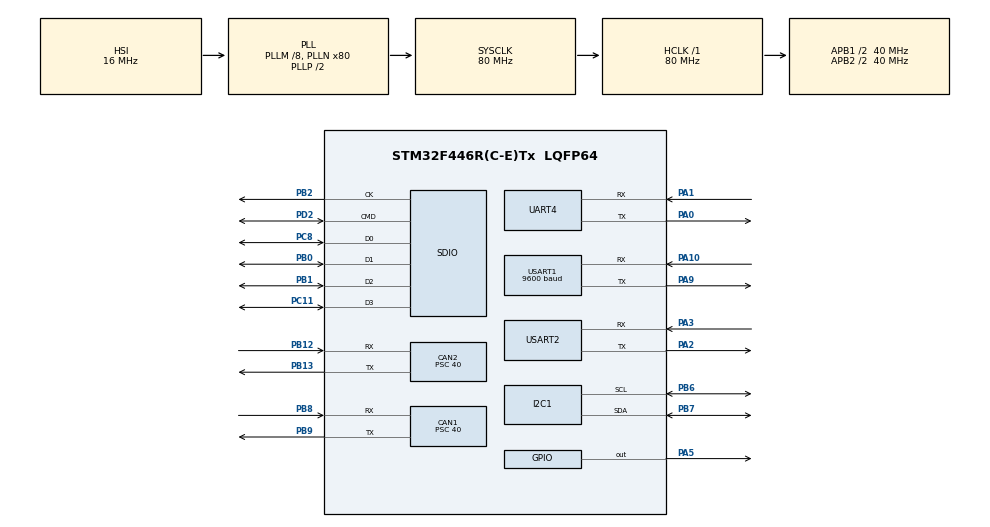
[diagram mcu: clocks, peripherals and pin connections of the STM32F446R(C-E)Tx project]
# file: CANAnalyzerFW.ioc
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CAN1.BS1=CAN_BS1_7TQ
CAN1.BS2=CAN_BS2_2TQ
CAN1.CalculateTimeQuantum=1000.0
CAN1.Mode=CAN_MODE_SILENT
CAN1.Prescaler=40
CAN2.BS1=CAN_BS1_7TQ
CAN2.BS2=CAN_BS2_2TQ
CAN2.CalculateTimeQuantum=1000.0
CAN2.Mode=CAN_MODE_SILENT
CAN2.Prescaler=40
Dma.Request0=SDIO_RX
Dma.Request1=SDIO_TX
Dma.SDIO_RX.0.Direction=DMA_PERIPH_TO_MEMORY
Dma.SDIO_RX.0.FIFOMode=DMA_FIFOMODE_ENABLE
Dma.SDIO_RX.0.FIFOThreshold=DMA_FIFO_THRESHOLD_FULL
Dma.SDIO_RX.0.Instance=DMA2_Stream3
Dma.SDIO_RX.0.MemBurst=DMA_MBURST_INC4
Dma.SDIO_RX.0.MemDataAlignment=DMA_MDATAALIGN_WORD
Dma.SDIO_RX.0.MemInc=DMA_MINC_ENABLE
Dma.SDIO_RX.0.Mode=DMA_PFCTRL
Dma.SDIO_RX.0.PeriphBurst=DMA_PBURST_INC4
Dma.SDIO_RX.0.PeriphDataAlignment=DMA_PDATAALIGN_WORD
Dma.SDIO_RX.0.PeriphInc=DMA_PINC_DISABLE
Dma.SDIO_RX.0.Priority=DMA_PRIORITY_LOW
Dma.SDIO_TX.1.Direction=DMA_MEMORY_TO_PERIPH
Dma.SDIO_TX.1.FIFOMode=DMA_FIFOMODE_ENABLE
Dma.SDIO_TX.1.FIFOThreshold=DMA_FIFO_THRESHOLD_FULL
Dma.SDIO_TX.1.Instance=DMA2_Stream6
Dma.SDIO_TX.1.MemBurst=DMA_MBURST_INC4
Dma.SDIO_TX.1.MemDataAlignment=DMA_MDATAALIGN_WORD
Dma.SDIO_TX.1.MemInc=DMA_MINC_ENABLE
Dma.SDIO_TX.1.Mode=DMA_PFCTRL
Dma.SDIO_TX.1.PeriphBurst=DMA_PBURST_INC4
Dma.SDIO_TX.1.PeriphDataAlignment=DMA_PDATAALIGN_WORD
Dma.SDIO_TX.1.PeriphInc=DMA_PINC_DISABLE
Dma.SDIO_TX.1.Priority=DMA_PRIORITY_LOW
FATFS._MAX_SS=4096
FATFS._USE_FIND=1
FATFS._USE_LFN=3
FREERTOS.INCLUDE_eTaskGetState=1
FREERTOS.MEMORY_ALLOCATION=0
FREERTOS.Tasks01=defaultTask,1,1024,StartDefaultTask,Default,NULL,Dynamic,NULL,NULL
FREERTOS.configCHECK_FOR_STACK_OVERFLOW=2
FREERTOS.configRECORD_STACK_HIGH_ADDRESS=1
FREERTOS.configTOTAL_HEAP_SIZE=60000
FREERTOS.configUSE_PREEMPTION=1
Mcu.Family=STM32F4
Mcu.Name=STM32F446R(C-E)Tx
Mcu.Package=LQFP64
NVIC.CAN1_RX0_IRQn=true\:5\:0\:false\:false\:true\:true\:true\:true
NVIC.CAN1_RX1_IRQn=true\:5\:0\:false\:false\:true\:true\:true\:true
NVIC.CAN1_SCE_IRQn=true\:5\:0\:false\:false\:true\:true\:true\:true
NVIC.CAN1_TX_IRQn=true\:5\:0\:false\:false\:true\:true\:true\:true
NVIC.CAN2_RX0_IRQn=true\:5\:0\:false\:false\:true\:true\:true\:true
NVIC.CAN2_RX1_IRQn=true\:5\:0\:false\:false\:true\:true\:true\:true
NVIC.CAN2_SCE_IRQn=true\:5\:0\:false\:false\:true\:true\:true\:true
NVIC.CAN2_TX_IRQn=true\:5\:0\:false\:false\:true\:true\:true\:true
NVIC.DMA2_Stream3_IRQn=true\:5\:0\:false\:false\:true\:true\:false\:true
NVIC.DMA2_Stream6_IRQn=true\:5\:0\:false\:false\:true\:true\:false\:true
NVIC.PriorityGroup=NVIC_PRIORITYGROUP_4
NVIC.SDIO_IRQn=true\:5\:0\:false\:false\:true\:true\:true\:true
NVIC.TIM1_UP_TIM10_IRQn=true\:0\:0\:false\:false\:true\:false\:false\:true
NVIC.TimeBase=TIM1_UP_TIM10_IRQn
NVIC.TimeBaseIP=TIM1
NVIC.USART1_IRQn=true\:5\:0\:false\:false\:true\:true\:true\:true
PA0-WKUP.Mode=Asynchronous
PA0-WKUP.Signal=UART4_TX
PA1.Mode=Asynchronous
PA1.Signal=UART4_RX
PA10.Mode=Asynchronous
PA10.Signal=USART1_RX
PA13.Signal=SYS_JTMS-SWDIO
PA14.Signal=SYS_JTCK-SWCLK
PA2.Mode=Asynchronous
PA2.Signal=USART2_TX
PA3.Mode=Asynchronous
PA3.Signal=USART2_RX
PA5.Signal=GPIO_Output
PA9.Mode=Asynchronous
PA9.Signal=USART1_TX
PB0.GPIO_PuPd=GPIO_PULLUP
PB0.Mode=SD_4_bits_Wide_bus
PB0.Signal=SDIO_D1
PB1.GPIO_PuPd=GPIO_PULLUP
PB1.Mode=SD_4_bits_Wide_bus
PB1.Signal=SDIO_D2
PB12.Mode=Slave
PB12.Signal=CAN2_RX
PB13.Mode=Slave
PB13.Signal=CAN2_TX
PB2.Mode=SD_4_bits_Wide_bus
PB2.Signal=SDIO_CK
PB6.Mode=I2C
PB6.Signal=I2C1_SCL
PB7.Mode=I2C
PB7.Signal=I2C1_SDA
PB8.Mode=Master
PB8.Signal=CAN1_RX
PB9.Mode=Master
PB9.Signal=CAN1_TX
PC11.GPIO_PuPd=GPIO_PULLUP
PC11.Mode=SD_4_bits_Wide_bus
PC11.Signal=SDIO_D3
PC8.GPIO_PuPd=GPIO_PULLUP
PC8.Mode=SD_4_bits_Wide_bus
PC8.Signal=SDIO_D0
PD2.GPIO_PuPd=GPIO_PULLUP
PD2.Mode=SD_4_bits_Wide_bus
PD2.Signal=SDIO_CMD
ProjectManager.HeapSize=0x2000
ProjectManager.StackSize=0x4000
ProjectManager.TargetToolchain=MDK-ARM V5
RCC.AHBFreq_Value=80000000
RCC.APB1CLKDivider=RCC_HCLK_DIV2
RCC.APB1Freq_Value=40000000
RCC.APB1TimFreq_Value=80000000
RCC.APB2CLKDivider=RCC_HCLK_DIV2
RCC.APB2Freq_Value=40000000
RCC.APB2TimFreq_Value=80000000
RCC.CortexFreq_Value=80000000
RCC.HCLKFreq_Value=80000000
RCC.HSE_VALUE=8000000
RCC.PLLM=8
RCC.PLLN=80
RCC.PLLQ=15
RCC.SYSCLKFreq_VALUE=80000000
RCC.SYSCLKSource=RCC_SYSCLKSOURCE_PLLCLK
RCC.USBFreq_Value=10666666.666666666
RCC.VCOOutputFreq_Value=160000000
SDIO.ClockDiv=4
UART4.VirtualMode=Asynchronous
USART1.BaudRate=9600
USART1.VirtualMode=VM_ASYNC
USART2.VirtualMode=VM_ASYNC
VP_CRC_VS_CRC.Mode=CRC_Activate
VP_FATFS_VS_SDIO.Mode=SDIO
VP_FREERTOS_VS_CMSIS_V1.Mode=CMSIS_V1
VP_SYS_VS_tim1.Mode=TIM1
board=custom

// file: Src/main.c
/* USER CODE BEGIN Header */
/**
  ******************************************************************************
  * @file           : main.c
  * @brief          : Main program body
  ******************************************************************************
  * @attention
  *
  * <h2><center>&copy; Copyright (c) 2019 STMicroelectronics.
  * All rights reserved.</center></h2>
  *
  * This software component is licensed by ST under Ultimate Liberty license
  * SLA0044, the "License"; You may not use this file except in compliance with
  * the License. You may obtain a copy of the License at:
  *                             www.st.com/SLA0044
  *
  ******************************************************************************
  */
/* USER CODE END Header */

#include "main.h"
#include "cmsis_os.h"
#include "can.h"
#include "crc.h"
#include "dma.h"
#include "fatfs.h"
#include "i2c.h"
#include "sdio.h"
#include "usart.h"
#include "gpio.h"

/* USER CODE BEGIN Includes */
#include "errors.h"
#include "cexception.h"
/* USER CODE END Includes */

/* USER CODE BEGIN PV */
const uint32_t firmwareVersion = 0x00010000;
const uint32_t serialNumber = 12345678;
/* USER CODE END PV */

void SystemClock_Config(void);
void MX_FREERTOS_Init(void);

int main(void)
{

  /* MCU Configuration--------------------------------------------------------*/

  /* Reset of all peripherals, Initializes the Flash interface and the Systick. */
  HAL_Init();

  /* Configure the system clock */
  SystemClock_Config();

  /* Initialize all configured peripherals */
  MX_GPIO_Init();
  MX_DMA_Init();
  MX_CAN1_Init();
  MX_CAN2_Init();
  MX_CRC_Init();
  MX_UART4_Init();
  MX_USART1_UART_Init();
  MX_I2C1_Init();
  MX_USART2_UART_Init();
  MX_SDIO_SD_Init();

  /* Call init function for freertos objects (in freertos.c) */
  MX_FREERTOS_Init();

  /* Start scheduler */
  osKernelStart();

  /* We should never get here as control is now taken by the scheduler */

  /* Infinite loop */
  while (1)
  {

  }
}

void SystemClock_Config(void)
{
  RCC_OscInitTypeDef RCC_OscInitStruct = {0};
  RCC_ClkInitTypeDef RCC_ClkInitStruct = {0};
  RCC_PeriphCLKInitTypeDef PeriphClkInitStruct = {0};

  /** Configure the main internal regulator output voltage
  */
  __HAL_RCC_PWR_CLK_ENABLE();
  __HAL_PWR_VOLTAGESCALING_CONFIG(PWR_REGULATOR_VOLTAGE_SCALE3);
  /** Initializes the CPU, AHB and APB busses clocks
  */
  RCC_OscInitStruct.OscillatorType = RCC_OSCILLATORTYPE_HSI;
  RCC_OscInitStruct.HSIState = RCC_HSI_ON;
  RCC_OscInitStruct.HSICalibrationValue = RCC_HSICALIBRATION_DEFAULT;
  RCC_OscInitStruct.PLL.PLLState = RCC_PLL_ON;
  RCC_OscInitStruct.PLL.PLLSource = RCC_PLLSOURCE_HSI;
  RCC_OscInitStruct.PLL.PLLM = 8;
  RCC_OscInitStruct.PLL.PLLN = 80;
  RCC_OscInitStruct.PLL.PLLP = RCC_PLLP_DIV2;
  RCC_OscInitStruct.PLL.PLLQ = 15;
  RCC_OscInitStruct.PLL.PLLR = 2;
  if (HAL_RCC_OscConfig(&RCC_OscInitStruct) != HAL_OK)
  {
    Error_Handler();
  }
  /** Initializes the CPU, AHB and APB busses clocks
  */
  RCC_ClkInitStruct.ClockType = RCC_CLOCKTYPE_HCLK|RCC_CLOCKTYPE_SYSCLK
                              |RCC_CLOCKTYPE_PCLK1|RCC_CLOCKTYPE_PCLK2;
  RCC_ClkInitStruct.SYSCLKSource = RCC_SYSCLKSOURCE_PLLCLK;
  RCC_ClkInitStruct.AHBCLKDivider = RCC_SYSCLK_DIV1;
  RCC_ClkInitStruct.APB1CLKDivider = RCC_HCLK_DIV2;
  RCC_ClkInitStruct.APB2CLKDivider = RCC_HCLK_DIV2;

  if (HAL_RCC_ClockConfig(&RCC_ClkInitStruct, FLASH_LATENCY_2) != HAL_OK)
  {
    Error_Handler();
  }
  PeriphClkInitStruct.PeriphClockSelection = RCC_PERIPHCLK_SDIO|RCC_PERIPHCLK_CLK48;
  PeriphClkInitStruct.Clk48ClockSelection = RCC_CLK48CLKSOURCE_PLLQ;
  PeriphClkInitStruct.SdioClockSelection = RCC_SDIOCLKSOURCE_CLK48;
  if (HAL_RCCEx_PeriphCLKConfig(&PeriphClkInitStruct) != HAL_OK)
  {
    Error_Handler();
  }
}

void HAL_TIM_PeriodElapsedCallback(TIM_HandleTypeDef *htim)
{
  if (htim->Instance == TIM1) {
    HAL_IncTick();
  }
}

void Error_Handler(void)
{
  /* USER CODE BEGIN Error_Handler_Debug */
  /* User can add his own implementation to report the HAL error return state */
	Throw(ERROR_FROM_HANDLER);
  /* USER CODE END Error_Handler_Debug */
}

/************************ (C) COPYRIGHT STMicroelectronics *****END OF FILE****/

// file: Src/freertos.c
/* USER CODE BEGIN Header */
/**
  ******************************************************************************
  * File Name          : freertos.c
  * Description        : Code for freertos applications
  ******************************************************************************
  * @attention
  *
  * <h2><center>&copy; Copyright (c) 2019 STMicroelectronics.
  * All rights reserved.</center></h2>
  *
  * This software component is licensed by ST under Ultimate Liberty license
  * SLA0044, the "License"; You may not use this file except in compliance with
  * the License. You may obtain a copy of the License at:
  *                             www.st.com/SLA0044
  *
  ******************************************************************************
  */
/* USER CODE END Header */

#include "FreeRTOS.h"
#include "task.h"
#include "main.h"
#include "cmsis_os.h"

/* USER CODE BEGIN Includes */
#include "ble.h"
#include "dispatcher.h"
#include "canspy.h"
#include "mailformats.h"
#include "fatfs.h"
/* USER CODE END Includes */

/* USER CODE BEGIN Variables */
osThreadId bleTaskHandle;
osThreadId dispatcherTaskHandle;
osThreadId canLine1TaskHandle;
osThreadId canLine2TaskHandle;

osMailQDef(commandMailHandle, 5, mailCommand);
osMailQId commandMailHandle;
osMailQDef(commandResponseMailHandle, 5, mailCommandResponse);
osMailQId commandResponseMailHandle;
/* USER CODE END Variables */
osThreadId defaultTaskHandle;

void StartDefaultTask(void const * argument);

extern void MX_FATFS_Init(void);
void MX_FREERTOS_Init(void); /* (MISRA C 2004 rule 8.1) */

/* Hook prototypes */
void vApplicationStackOverflowHook(xTaskHandle xTask, signed char *pcTaskName);

/* USER CODE BEGIN 4 */
__weak void vApplicationStackOverflowHook(xTaskHandle xTask, signed char *pcTaskName)
{
   /* Run time stack overflow checking is performed if
   configCHECK_FOR_STACK_OVERFLOW is defined to 1 or 2. This hook function is
   called if a stack overflow is detected. */
}
/* USER CODE END 4 */

void MX_FREERTOS_Init(void) {

  /* USER CODE BEGIN RTOS_QUEUES */

	commandMailHandle = osMailCreate(osMailQ(commandMailHandle), NULL);
	commandResponseMailHandle = osMailCreate(osMailQ(commandResponseMailHandle), NULL);

  /* USER CODE END RTOS_QUEUES */

  /* Create the thread(s) */
  /* definition and creation of defaultTask */
  osThreadDef(defaultTask, StartDefaultTask, osPriorityAboveNormal, 0, 1024);
  defaultTaskHandle = osThreadCreate(osThread(defaultTask), NULL);

  /* USER CODE BEGIN RTOS_THREADS */
	osThreadDef(dispatcherTask, StartDispatcherTask, osPriorityNormal, 0, 4096);
	dispatcherTaskHandle = osThreadCreate(osThread(dispatcherTask), NULL);

	osThreadDef(bleTask, StartBLETask, osPriorityNormal, 0, 4096);
	bleTaskHandle = osThreadCreate(osThread(bleTask), NULL);

	osThreadDef(canLine1Task, StartCANSpyTask, osPriorityNormal, 0, 1024);
	canLine1TaskHandle = osThreadCreate(osThread(canLine1Task), (void *)1);

	osThreadDef(canLine2Task, StartCANSpyTask, osPriorityNormal, 0, 1024);
	canLine2TaskHandle = osThreadCreate(osThread(canLine2Task), (void *)2);
  /* USER CODE END RTOS_THREADS */

}

/* USER CODE BEGIN Header_StartDefaultTask */
/**
  * @brief  Function implementing the defaultTask thread.
  * @param  argument: Not used
  * @retval None
  */
FATFS SDFatFSHandle;
/* USER CODE END Header_StartDefaultTask */
void StartDefaultTask(void const * argument)
{
  /* init code for FATFS */
  MX_FATFS_Init();

  /* USER CODE BEGIN StartDefaultTask */
	if(f_mount(&SDFatFSHandle, "", 1) != FR_OK)
	{
		Error_Handler();
	}

	// Questo thread viene inizializzato con una priorita' alta
	// per fargli eseguire l'inizializzazione del FatFS senza
	// context switch
	osThreadSetPriority(StartDefaultTask, osPriorityBelowNormal);

  /* Infinite loop */
  for(;;)
  {
    osDelay(100);
  }
  /* USER CODE END StartDefaultTask */
}

/************************ (C) COPYRIGHT STMicroelectronics *****END OF FILE****/
